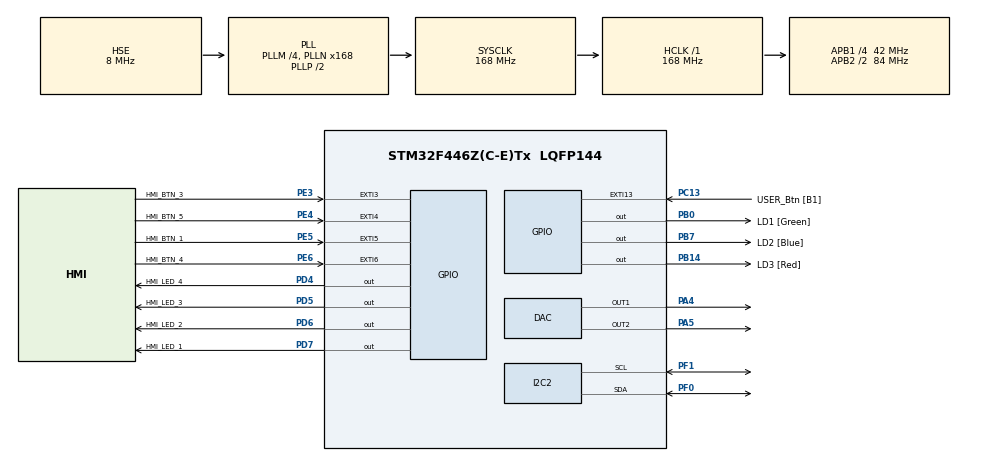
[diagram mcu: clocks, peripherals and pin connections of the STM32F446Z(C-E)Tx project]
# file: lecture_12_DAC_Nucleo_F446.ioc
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Mcu.Family=STM32F4
Mcu.Name=STM32F446Z(C-E)Tx
Mcu.Package=LQFP144
NVIC.EXTI15_10_IRQn=true\:0\:0\:false\:false\:true\:true\:true\:true
NVIC.EXTI3_IRQn=true\:0\:0\:false\:false\:true\:true\:true\:true
NVIC.EXTI4_IRQn=true\:0\:0\:false\:false\:true\:true\:true\:true
NVIC.EXTI9_5_IRQn=true\:0\:0\:false\:false\:true\:true\:true\:true
NVIC.PriorityGroup=NVIC_PRIORITYGROUP_4
PA13.Mode=Serial_Wire
PA13.Signal=SYS_JTMS-SWDIO
PA14.Mode=Serial_Wire
PA14.Signal=SYS_JTCK-SWCLK
PA4.Signal=COMP_DAC1_group
PA5.Signal=COMP_DAC2_group
PB0.GPIO_Label=LD1 [Green]
PB0.Signal=GPIO_Output
PB14.GPIO_Label=LD3 [Red]
PB14.Signal=GPIO_Output
PB7.GPIO_Label=LD2 [Blue]
PB7.Signal=GPIO_Output
PC13.GPIO_Label=USER_Btn [B1]
PC13.Signal=GPXTI13
PC14-OSC32_IN.Mode=LSE-External-Oscillator
PC14-OSC32_IN.Signal=RCC_OSC32_IN
PC15-OSC32_OUT.Mode=LSE-External-Oscillator
PC15-OSC32_OUT.Signal=RCC_OSC32_OUT
PD4.GPIO_Label=HMI_LED_4
PD4.GPIO_ModeDefaultOutputPP=GPIO_MODE_OUTPUT_PP
PD4.GPIO_PuPd=GPIO_NOPULL
PD4.GPIO_Speed=GPIO_SPEED_FREQ_LOW
PD4.PinState=GPIO_PIN_RESET
PD4.Signal=GPIO_Output
PD5.GPIO_Label=HMI_LED_3
PD5.GPIO_ModeDefaultOutputPP=GPIO_MODE_OUTPUT_PP
PD5.GPIO_PuPd=GPIO_NOPULL
PD5.GPIO_Speed=GPIO_SPEED_FREQ_LOW
PD5.PinState=GPIO_PIN_RESET
PD5.Signal=GPIO_Output
PD6.GPIO_Label=HMI_LED_2
PD6.GPIO_ModeDefaultOutputPP=GPIO_MODE_OUTPUT_PP
PD6.GPIO_PuPd=GPIO_NOPULL
PD6.GPIO_Speed=GPIO_SPEED_FREQ_LOW
PD6.PinState=GPIO_PIN_RESET
PD6.Signal=GPIO_Output
PD7.GPIO_Label=HMI_LED_1
PD7.GPIO_ModeDefaultOutputPP=GPIO_MODE_OUTPUT_PP
PD7.GPIO_PuPd=GPIO_NOPULL
PD7.GPIO_Speed=GPIO_SPEED_FREQ_LOW
PD7.PinState=GPIO_PIN_RESET
PD7.Signal=GPIO_Output
PE3.GPIO_Label=HMI_BTN_3
PE3.GPIO_ModeDefaultEXTI=GPIO_MODE_IT_RISING_FALLING
PE3.Signal=GPXTI3
PE4.GPIO_Label=HMI_BTN_5
PE4.GPIO_ModeDefaultEXTI=GPIO_MODE_IT_RISING_FALLING
PE4.Signal=GPXTI4
PE5.GPIO_Label=HMI_BTN_1
PE5.GPIO_ModeDefaultEXTI=GPIO_MODE_IT_RISING_FALLING
PE5.Signal=GPXTI5
PE6.GPIO_Label=HMI_BTN_4
PE6.GPIO_ModeDefaultEXTI=GPIO_MODE_IT_RISING_FALLING
PE6.Signal=GPXTI6
PF0.Mode=I2C
PF0.Signal=I2C2_SDA
PF1.Mode=I2C
PF1.Signal=I2C2_SCL
PH0-OSC_IN.Mode=HSE-External-Clock-Source
PH0-OSC_IN.Signal=RCC_OSC_IN
PH1-OSC_OUT.Mode=HSE-External-Clock-Source
PH1-OSC_OUT.Signal=RCC_OSC_OUT
ProjectManager.HeapSize=0x200
ProjectManager.StackSize=0x400
ProjectManager.TargetToolchain=STM32CubeIDE
RCC.48MHZClocksFreq_Value=24000000
RCC.AHBFreq_Value=168000000
RCC.APB1CLKDivider=RCC_HCLK_DIV4
RCC.APB1Freq_Value=42000000
RCC.APB1TimFreq_Value=84000000
RCC.APB2CLKDivider=RCC_HCLK_DIV2
RCC.APB2Freq_Value=84000000
RCC.APB2TimFreq_Value=168000000
RCC.CortexFreq_Value=168000000
RCC.HCLKFreq_Value=168000000
RCC.HSE_VALUE=8000000
RCC.HSI_VALUE=16000000
RCC.PLLM=4
RCC.PLLMUL=RCC_PLL_MUL9
RCC.PLLN=168
RCC.PLLQ=7
RCC.PLLSourceVirtual=RCC_PLLSOURCE_HSE
RCC.PRESCALERUSB=RCC_USBCLKSOURCE_PLL_DIV1_5
RCC.SYSCLKFreq_VALUE=168000000
RCC.SYSCLKSource=RCC_SYSCLKSOURCE_PLLCLK
RCC.SYSCLKSourceVirtual=RCC_SYSCLKSOURCE_PLLCLK
RCC.USBFreq_Value=48000000
RCC.VCOOutputFreq_Value=336000000
SH.COMP_DAC1_group.0=DAC_OUT1,DAC_OUT1
SH.COMP_DAC2_group.0=DAC_OUT2,DAC_OUT2
board=NUCLEO-F446ZE

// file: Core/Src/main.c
/* USER CODE BEGIN Header */
/**
  ******************************************************************************
  * @file           : main.c
  * @brief          : Main program body
  ******************************************************************************
  * @attention
  *
  * Copyright (c) 2024 STMicroelectronics.
  * All rights reserved.
  *
  * This software is licensed under terms that can be found in the LICENSE file
  * in the root directory of this software component.
  * If no LICENSE file comes with this software, it is provided AS-IS.
  *
  ******************************************************************************
  */
/* USER CODE END Header */
#include "main.h"
#include "dac.h"
#include "i2c.h"
#include "gpio.h"
#include "math.h"
/* USER CODE BEGIN Includes */
/* Add the math library */

#define HEART_POINTS      200u   /* samples per outline */
#define HEART_MAX_POINTS  512u   /* scratch buffer size */
#define DAC_FULL_SCALE    4095.0f
#define DAC_MARGIN        140.0f /* keeps the trace off the screen edges */
/* USER CODE END Includes */

void SystemClock_Config(void);

/* USER CODE BEGIN 0 */
// Sine generation function
//void GenerateSine (uint32_t* sine,uint32_t length)
//{
// // Generate a specified number of points
// for (int i=0; i<length; i++)
// {
//	 // Calculate the values for the given points
//	 sine[i] = ((sin(i*2*M_PI/length) + 1)*(4095/2));
// }
//}

/* USER CODE END 0 */

int main(void)
{

  /* MCU Configuration--------------------------------------------------------*/

  /* Reset of all peripherals, Initializes the Flash interface and the Systick. */
  HAL_Init();

  /* Configure the system clock */
  SystemClock_Config();

  /* Initialize all configured peripherals */
  MX_GPIO_Init();
  MX_DAC_Init();
  MX_I2C2_Init();
  /* USER CODE BEGIN 2 */

  /* Output value in volt */
  float u_kimeneti = 1.0;
  /* Calculation of the digital input value, take care of the operational amplifier */
  uint32_t d_bemenet = (uint32_t)((u_kimeneti)*4095)/(3.3);
  /* Set the digital input value */
  HAL_DAC_SetValue(&hdac, DAC_CHANNEL_1, DAC_ALIGN_12B_R, d_bemenet);
  /* Start the analog-digital conversion */
  HAL_DAC_Start(&hdac, DAC_CHANNEL_1);

  /* array to store the point of the sine wave */
  uint32_t sine_data[100];

  /* Calculate the points of the sine wave*/
//  GenerateSine(sine_data,100);
//  for(int i = 0; i < 100; i++)
//  {
//	  sine_data[i] = (sine_data[i]);
//  }
  /* USER CODE BEGIN PD */

  /* USER CODE END PD */

  /* USER CODE BEGIN 0 */

  /**
    * @brief  Generates a heart outline as two coordinate tables for X-Y display.
    * @param  x_out  array receiving the X samples (DAC channel 1), 0..4095
    * @param  y_out  array receiving the Y samples (DAC channel 2), 0..4095
    * @param  length number of points per revolution
    */

  static uint32_t heart_x[HEART_POINTS];
  static uint32_t heart_y[HEART_POINTS];

  void GenerateHeart(uint32_t *x_out, uint32_t *y_out, uint32_t length)
  {
    static float xr[HEART_MAX_POINTS];
    static float yr[HEART_MAX_POINTS];
    const float two_pi = 6.28318530718f;
    float xmin =  1.0e9f, xmax = -1.0e9f;
    float ymin =  1.0e9f, ymax = -1.0e9f;

    if (length == 0u) return;
    if (length > HEART_MAX_POINTS) length = HEART_MAX_POINTS;

    /* ---- pass 1: evaluate the curve and track its extents ---- */
    for (uint32_t i = 0; i < length; i++)
    {
      float t = two_pi * (float)i / (float)length;
      float s = sinf(t);

      float x = 16.0f * s * s * s;
      float y = 13.0f * cosf(t)
              -  5.0f * cosf(2.0f * t)
              -  2.0f * cosf(3.0f * t)
              -        cosf(4.0f * t);

      xr[i] = x;
      yr[i] = y;

      if (x < xmin) xmin = x;
      if (x > xmax) xmax = x;
      if (y < ymin) ymin = y;
      if (y > ymax) ymax = y;
    }

    /* ---- pass 2: scale into the DAC range ---- */
    float xspan = (xmax - xmin) > 0.0f ? (xmax - xmin) : 1.0f;
    float yspan = (ymax - ymin) > 0.0f ? (ymax - ymin) : 1.0f;
    float usable = DAC_FULL_SCALE - 2.0f * DAC_MARGIN;

    for (uint32_t i = 0; i < length; i++)
    {
      /* y already increases upwards, and a larger DAC code is a higher
         voltage, which is also upwards on the scope -> no inversion needed */
      x_out[i] = (uint32_t)(DAC_MARGIN + (xr[i] - xmin) / xspan * usable);
      y_out[i] = (uint32_t)(DAC_MARGIN + (yr[i] - ymin) / yspan * usable);
    }
  }
  /* USER CODE END 0 */
  /* USER CODE END 2 */

  /* Infinite loop */
  /* USER CODE BEGIN WHILE */
  while (1)
  {
//	  for (int i = 0; i < 100; i++)
//	  {
//		  /* Set the digital input value */
//		 HAL_DAC_SetValue(&hdac, DAC_CHANNEL_1, DAC_ALIGN_12B_R, sine_data[i]);
//		  /* Start the analog-digital conversion */
//		  HAL_DAC_Start(&hdac, DAC_CHANNEL_1);
//		  /* Set the delay, this will be the time between two points */
//		  HAL_Delay(0);
//	  }

	  for (uint32_t i = 0; i < HEART_POINTS; i++)
	      {
	        HAL_DAC_SetValue(&hdac, DAC_CHANNEL_1, DAC_ALIGN_12B_R, heart_x[i]);
	        HAL_DAC_SetValue(&hdac, DAC_CHANNEL_2, DAC_ALIGN_12B_R, heart_y[i]);
	        //delay_us(60);   /* 200 pts x 60 us = 12 ms per revolution (~83 Hz) */
	      }
    /* USER CODE END WHILE */

  }
}

void SystemClock_Config(void)
{
  RCC_OscInitTypeDef RCC_OscInitStruct = {0};
  RCC_ClkInitTypeDef RCC_ClkInitStruct = {0};

  /** Configure the main internal regulator output voltage
  */
  __HAL_RCC_PWR_CLK_ENABLE();
  __HAL_PWR_VOLTAGESCALING_CONFIG(PWR_REGULATOR_VOLTAGE_SCALE1);

  /** Initializes the RCC Oscillators according to the specified parameters
  * in the RCC_OscInitTypeDef structure.
  */
  RCC_OscInitStruct.OscillatorType = RCC_OSCILLATORTYPE_HSE;
  RCC_OscInitStruct.HSEState = RCC_HSE_BYPASS;
  RCC_OscInitStruct.PLL.PLLState = RCC_PLL_ON;
  RCC_OscInitStruct.PLL.PLLSource = RCC_PLLSOURCE_HSE;
  RCC_OscInitStruct.PLL.PLLM = 4;
  RCC_OscInitStruct.PLL.PLLN = 168;
  RCC_OscInitStruct.PLL.PLLP = RCC_PLLP_DIV2;
  RCC_OscInitStruct.PLL.PLLQ = 7;
  RCC_OscInitStruct.PLL.PLLR = 2;
  if (HAL_RCC_OscConfig(&RCC_OscInitStruct) != HAL_OK)
  {
    Error_Handler();
  }

  /** Initializes the CPU, AHB and APB buses clocks
  */
  RCC_ClkInitStruct.ClockType = RCC_CLOCKTYPE_HCLK|RCC_CLOCKTYPE_SYSCLK
                              |RCC_CLOCKTYPE_PCLK1|RCC_CLOCKTYPE_PCLK2;
  RCC_ClkInitStruct.SYSCLKSource = RCC_SYSCLKSOURCE_PLLCLK;
  RCC_ClkInitStruct.AHBCLKDivider = RCC_SYSCLK_DIV1;
  RCC_ClkInitStruct.APB1CLKDivider = RCC_HCLK_DIV4;
  RCC_ClkInitStruct.APB2CLKDivider = RCC_HCLK_DIV2;

  if (HAL_RCC_ClockConfig(&RCC_ClkInitStruct, FLASH_LATENCY_5) != HAL_OK)
  {
    Error_Handler();
  }
}

void Error_Handler(void)
{
  __disable_irq();
  while (1)
  {
  }
}
